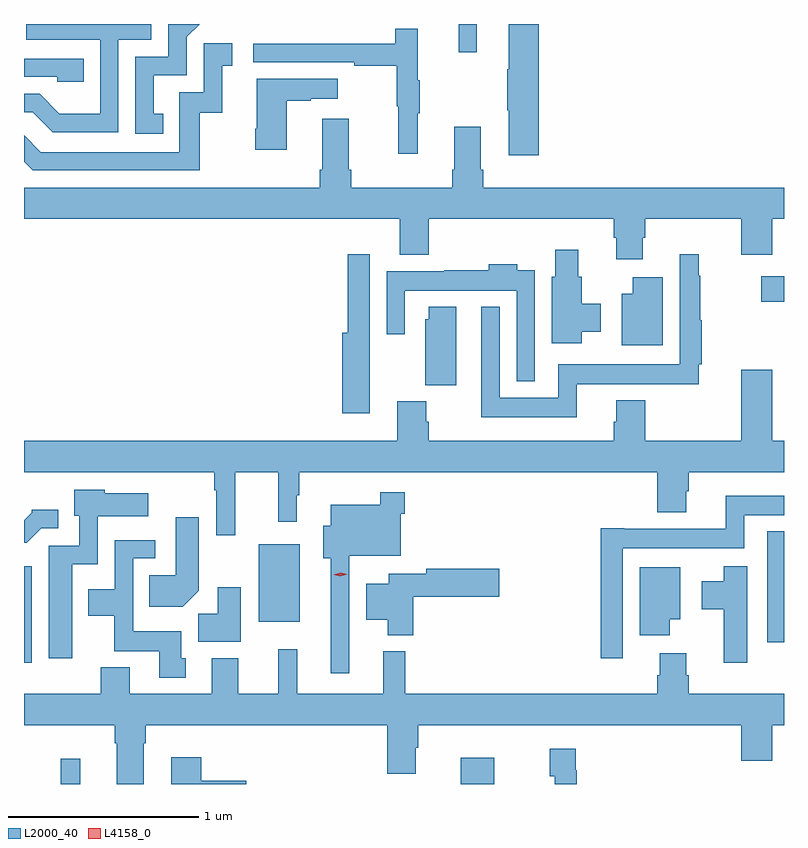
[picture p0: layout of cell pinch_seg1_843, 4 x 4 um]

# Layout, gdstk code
import gdstk
lib = gdstk.Library(unit=1e-6, precision=1e-09)
def R(c, l, rs):  # rectangles x0, y0, x1, y1
    for r in rs: c.add(gdstk.rectangle(r[:2], r[2:], *l))
def P(c, l, *ps):  # polygons
    for p in ps: c.add(gdstk.Polygon(p, *l))
L2000_40 = (2000, 40)
L4158_0 = (4158, 0)

pinch_seg1_843 = lib.new_cell('pinch_seg1_843')
R(pinch_seg1_843, L2000_40, [(497.092,528.778,497.195,528.91), (499.196,528.778,499.372,528.916), (496.898,529.416,496.939,529.924), (500.811,529.524,500.898,530.107), (498.134,529.631,498.349,530.041), (500.778,531.317,500.898,531.451), (499.185,532.629,499.282,532.778)])
P(pinch_seg1_843, L2000_40, [(499.607,532.778),(499.448,532.778),(499.448,532.541),(499.441,532.541),(499.441,532.324),(499.448,532.324),(499.448,532.086),(499.607,532.086)],
  [(497.394,532.695),(497.568,532.695),(497.568,532.778),(496.909,532.778),(496.909,532.695),(497.298,532.695),(497.298,532.306),(497.084,532.306),(496.98,532.41),(496.898,532.41),(496.898,532.314),(496.943,532.314),(497.048,532.209),(497.394,532.209)],
  [(497.63,532.305),(497.581,532.305),(497.581,532.509),(497.754,532.509),(497.754,532.71),(497.822,532.778),(497.658,532.778),(497.658,532.605),(497.484,532.605),(497.484,532.2),(497.63,532.2)],
  [(498.971,532.307),(498.982,532.307),(498.982,532.481),(498.971,532.481),(498.971,532.753),(498.853,532.753),(498.853,532.674),(498.105,532.674),(498.105,532.578),(498.637,532.578),(498.637,532.558),(498.861,532.558),(498.861,532.344),(498.868,532.344),(498.868,532.095),(498.971,532.095)],
  [(497.824,532.311),(497.942,532.311),(497.942,532.557),(497.995,532.557),(497.995,532.678),(497.844,532.678),(497.844,532.419),(497.715,532.419),(497.715,532.104),(496.986,532.104),(496.898,532.192),(496.898,532.054),(496.944,532.008),(497.824,532.008)],
  [(497.213,532.596),(496.898,532.596),(496.898,532.5),(497.073,532.5),(497.073,532.473),(497.213,532.473)],
  [(498.28,532.375),(498.407,532.375),(498.407,532.385),(498.55,532.385),(498.55,532.489),(498.122,532.489),(498.122,532.228),(498.115,532.228),(498.115,532.116),(498.28,532.116)],
  [(500.155,531.654),(500.168,531.654),(500.168,531.752),(500.672,531.752),(500.672,531.564),(500.836,531.564),(500.836,531.752),(500.898,531.752),(500.898,531.916),(499.316,531.916),(499.316,532.012),(499.303,532.012),(499.303,532.237),(499.163,532.237),(499.163,532.012),(499.151,532.012),(499.151,531.916),(498.62,531.916),(498.62,532.012),(498.607,532.012),(498.607,532.279),(498.467,532.279),(498.467,532.012),(498.455,532.012),(498.455,531.916),(496.898,531.916),(496.898,531.752),(498.875,531.752),(498.875,531.563),(499.028,531.563),(499.028,531.752),(500.003,531.752),(500.003,531.654),(500.015,531.654),(500.015,531.54),(500.155,531.54)],
  [(499.834,531.158),(499.933,531.158),(499.933,531.306),(499.834,531.306),(499.834,531.447),(499.816,531.447),(499.816,531.589),(499.694,531.589),(499.694,531.447),(499.676,531.447),(499.676,531.099),(499.834,531.099)],
  [(499.808,530.882),(500.448,530.882),(500.448,530.986),(500.465,530.986),(500.465,531.219),(500.458,531.219),(500.458,531.452),(500.448,531.452),(500.448,531.565),(500.349,531.565),(500.349,530.986),(499.71,530.986),(499.71,530.812),(499.401,530.812),(499.401,531.289),(499.304,531.289),(499.304,530.708),(499.808,530.708)],
  [(498.718,531.05),(498.717,531.05),(498.717,531.565),(498.601,531.565),(498.601,531.154),(498.572,531.154),(498.572,530.73),(498.718,530.73)],
  [(499.587,531.481),(499.495,531.481),(499.495,531.514),(499.343,531.514),(499.343,531.481),(499.111,531.481),(499.111,531.478),(498.807,531.478),(498.807,531.144),(498.903,531.144),(498.903,531.374),(499.491,531.374),(499.491,530.897),(499.587,530.897)],
  [(500.26,531.445),(500.102,531.445),(500.102,531.358),(500.045,531.358),(500.045,531.086),(500.26,531.086)],
  [(499.174,531.289),(499.028,531.289),(499.028,531.225),(499.01,531.225),(499.01,530.878),(499.174,530.878)],
  [(498.009,530.42),(498.235,530.42),(498.235,530.157),(498.334,530.157),(498.334,530.297),(498.346,530.297),(498.346,530.42),(500.231,530.42),(500.231,530.207),(500.383,530.207),(500.383,530.319),(500.396,530.319),(500.396,530.42),(500.898,530.42),(500.898,530.584),(500.836,530.584),(500.836,530.959),(500.672,530.959),(500.672,530.584),(500.168,530.584),(500.168,530.797),(500.015,530.797),(500.015,530.685),(500.003,530.685),(500.003,530.584),(499.028,530.584),(499.028,530.684),(499.015,530.684),(499.015,530.793),(498.863,530.793),(498.863,530.584),(496.898,530.584),(496.898,530.42),(497.898,530.42),(497.898,530.324),(497.91,530.324),(497.91,530.088),(498.009,530.088)],
  [(497.152,529.934),(497.286,529.934),(497.286,530.186),(497.551,530.186),(497.551,530.308),(497.322,530.308),(497.322,530.326),(497.162,530.326),(497.162,530.19),(497.19,530.19),(497.19,530.031),(497.027,530.031),(497.027,529.44),(497.152,529.44)],
  [(498.609,529.979),(498.882,529.979),(498.882,530.201),(498.902,530.201),(498.902,530.314),(498.774,530.314),(498.774,530.248),(498.512,530.248),(498.512,530.137),(498.473,530.137),(498.473,529.967),(498.512,529.967),(498.512,529.362),(498.609,529.362)],
  [(500.049,530.018),(500.688,530.018),(500.688,530.192),(500.898,530.192),(500.898,530.296),(500.591,530.296),(500.591,530.122),(500.056,530.122),(500.056,530.125),(499.933,530.125),(499.933,529.44),(500.049,529.44)],
  [(496.989,530.124),(497.077,530.124),(497.077,530.221),(496.938,530.221),(496.938,530.206),(496.898,530.166),(496.898,530.048),(496.913,530.048)],
  [(497.818,529.796),(497.818,530.182),(497.696,530.182),(497.696,529.876),(497.557,529.876),(497.557,529.712),(497.734,529.712)],
  [(497.749,529.44),(497.725,529.44),(497.725,529.582),(497.472,529.582),(497.472,529.965),(497.59,529.965),(497.59,530.061),(497.376,530.061),(497.376,529.804),(497.237,529.804),(497.237,529.664),(497.374,529.664),(497.374,529.478),(497.609,529.478),(497.609,529.338),(497.749,529.338)],
  [(500.704,529.924),(500.582,529.924),(500.582,529.846),(500.465,529.846),(500.465,529.699),(500.582,529.699),(500.582,529.416),(500.704,529.416)],
  [(500.296,529.646),(500.353,529.646),(500.353,529.918),(500.138,529.918),(500.138,529.56),(500.296,529.56)],
  [(498.947,529.763),(499.399,529.763),(499.399,529.91),(499.014,529.91),(499.014,529.885),(498.818,529.885),(498.818,529.831),(498.698,529.831),(498.698,529.643),(498.812,529.643),(498.812,529.562),(498.947,529.562)],
  [(498.04,529.813),(497.918,529.813),(497.918,529.673),(497.816,529.673),(497.816,529.526),(498.04,529.526)],
  [(497.527,528.992),(497.54,528.992),(497.54,529.088),(498.809,529.088),(498.809,528.831),(498.961,528.831),(498.961,528.968),(498.974,528.968),(498.974,529.088),(500.672,529.088),(500.672,528.9),(500.836,528.9),(500.836,529.088),(500.898,529.088),(500.898,529.252),(500.396,529.252),(500.396,529.35),(500.383,529.35),(500.383,529.465),(500.243,529.465),(500.243,529.35),(500.231,529.35),(500.231,529.252),(498.905,529.252),(498.905,529.477),(498.788,529.477),(498.788,529.252),(498.335,529.252),(498.335,529.486),(498.236,529.486),(498.236,529.252),(498.025,529.252),(498.025,529.441),(497.885,529.441),(497.885,529.252),(497.455,529.252),(497.455,529.393),(497.303,529.393),(497.303,529.252),(496.898,529.252),(496.898,529.088),(497.375,529.088),(497.375,528.992),(497.387,528.992),(497.387,528.778),(497.527,528.778)],
  [(499.808,528.851),(499.801,528.851),(499.801,528.964),(499.666,528.964),(499.666,528.819),(499.692,528.819),(499.692,528.778),(499.808,528.778)],
  [(498.067,528.795),(497.831,528.795),(497.831,528.919),(497.672,528.919),(497.672,528.778),(498.067,528.778)])
P(pinch_seg1_843, L4158_0, [(498.562,529.871),(498.527,529.879),(498.526,529.879),(498.527,529.879),(498.562,529.89),(498.598,529.882),(498.598,529.882),(498.598,529.882)])

lib.write_gds('pinch_seg1_843.gds')
